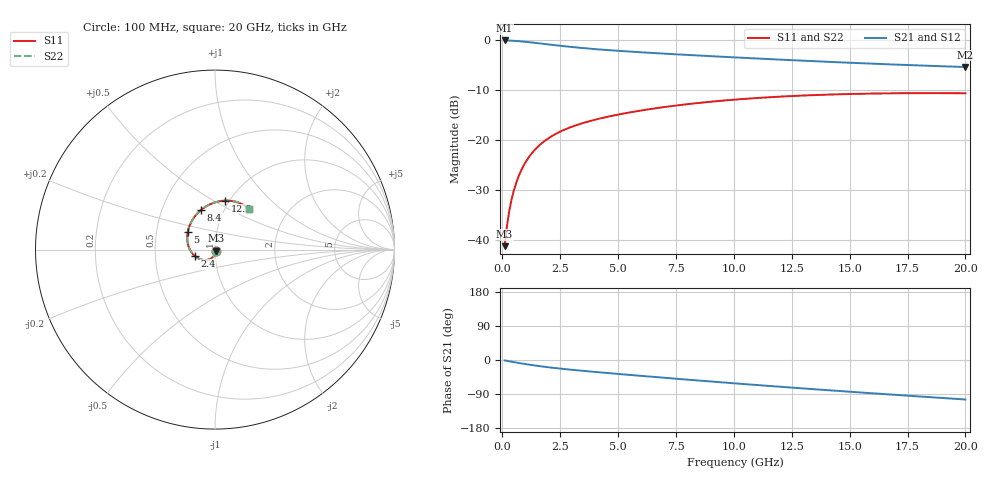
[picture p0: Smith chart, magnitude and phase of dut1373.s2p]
! Touchstone file exported from HFSS 2024.1.0
!  File:  C:/UserFiles/LocalFiles/RDL_TSV_Batchsim/temp_RDL_TSV_1373_1780399339.aedt
!  Generated:  07:39:42 PM Jun  2, 2026
!  Design:  RDL_TSV
!  Project:  temp_RDL_TSV_1373_1780399339
!  Setup:  Setup1
!  Solution:  Sweep
! Variables:
!  dtsv = 10.37um
!  hbump = 3um
!  htsv = 93.36um
!  ldown = 111.11um
!  lrdl = 165.18um
!  p = 40
!  p1 = 47.68um
!  rhole = 10um
!  subl = 994.05um
!  t = 450um
!  tdown = 2.12um
!  trdl = 3.79um
!  viad = 10um
!  wdown = 24.5um
!  wrdl = 22.56um
!  xbump = 18um
# GHz S MA R 50.000000
! Terminal data exported
! Port[1] = TM1_1_T1
! Port[2] = TM1_4_T1
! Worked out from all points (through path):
!   200 points, 100 MHz to 20 GHz, reference 50 ohm
!   highest |S21| = -0.06 dB at 100 MHz (marker M1); lowest = -5.4 dB at 20 GHz (marker M2)
!   group delay of S21, straight-line fit = 13.5 ps
!   lowest |S11| = -41.2 dB at 100 MHz (marker M3), VSWR 1.02, Z = 50.6 - j0.648 ohm
!   |S11| at or under -10 dB: start of sweep to end of sweep
!   |S22| runs from -41.2 to -10.6 dB; largest |S21 - S12| = 3e-14
!   S11 on the Smith chart (normalised r, x): 100 MHz: 1.01, -0.01; 2.4 GHz: 0.80, -0.06; 5 GHz: 0.72, +0.14; 8.4 GHz: 0.78, +0.37; 12.8 GHz: 0.95, +0.56; 20 GHz: 1.29, +0.64
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0.1  0.008677 -47.6  0.9934 -1.2  0.9934 -1.2  0.008677 -47.6
! Gamma 0 0 0 0
! Port Impedance 50 0 50 0
0.2  0.01372 -69.3  0.9921 -2.3  0.9921 -2.3  0.01372 -69.3
0.3  0.01945 -81.0  0.9902 -3.4  0.9902 -3.4  0.01945 -81.0
0.4  0.02538 -89.0  0.9877 -4.5  0.9877 -4.5  0.02538 -89.0
0.5  0.03135 -95.3  0.9846 -5.6  0.9846 -5.6  0.03135 -95.3
0.6  0.03728 -100.8  0.9811 -6.7  0.9811 -6.7  0.03728 -100.8
0.8  0.04882 -110.2  0.9728 -8.8  0.9728 -8.8  0.04882 -110.2
1.1  0.06503 -122.3  0.9577 -11.8  0.9577 -11.8  0.06503 -122.3
1.3  0.07499 -129.6  0.9466 -13.6  0.9466 -13.6  0.075 -129.6
1.5  0.08427 -136.4  0.9349 -15.3  0.9349 -15.3  0.08427 -136.4
1.9  0.1008 -148.8  0.9114 -18.5  0.9114 -18.5  0.1009 -148.8
2.4  0.1184 -162.4  0.8835 -22.0  0.8835 -22.0  0.1184 -162.4
2.9  0.1332 -174.4  0.8586 -25.2  0.8586 -25.2  0.1333 -174.4
3.5  0.1485 173.0  0.8327 -28.7  0.8327 -28.7  0.1486 173.0
5  0.18 147.7  0.7824 -36.8  0.7824 -36.8  0.1801 147.7
6.8  0.211 124.9  0.7372 -46.0  0.7372 -46.0  0.2112 124.9
8.4  0.2343 109.2  0.7033 -53.8  0.7033 -53.8  0.2346 109.2
10.1  0.2547 95.6  0.6711 -61.9  0.6711 -61.9  0.255 95.6
12.8  0.278 78.7  0.626 -74.2  0.626 -74.2  0.2783 78.7
13.4  0.2817 75.5  0.6169 -76.8  0.6169 -76.8  0.282 75.5
16.7  0.2938 60.9  0.573 -90.8  0.573 -90.8  0.2942 60.9
20  0.2941 50.1  0.5387 -104.2  0.5387 -104.2  0.2945 50.2
